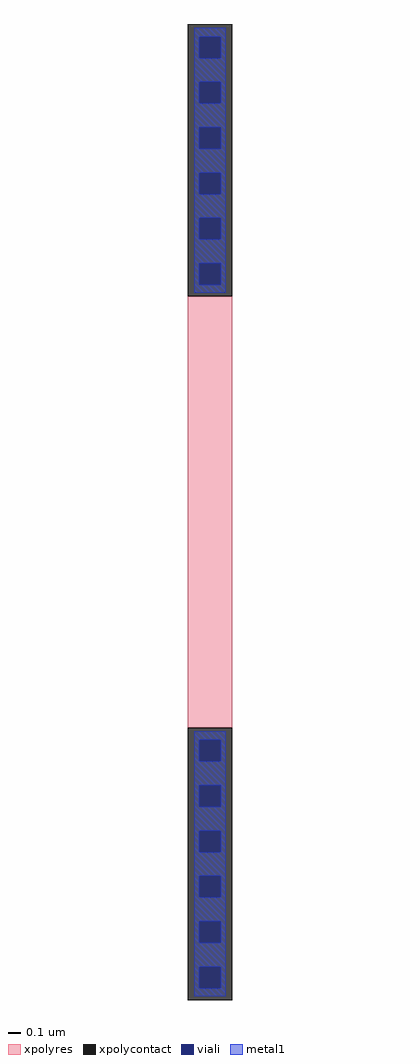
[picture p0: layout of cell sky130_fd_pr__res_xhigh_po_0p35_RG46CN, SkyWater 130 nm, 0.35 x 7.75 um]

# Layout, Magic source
magic
tech sky130A
magscale 1 2
<< xpolycontact >>
rect -35 343 35 775
rect -35 -775 35 -343
<< xpolyres >>
rect -35 -343 35 343
<< viali >>
rect -17 721 17 755
rect -17 649 17 683
rect -17 577 17 611
rect -17 505 17 539
rect -17 433 17 467
rect -17 361 17 395
rect -17 -396 17 -362
rect -17 -468 17 -434
rect -17 -540 17 -506
rect -17 -612 17 -578
rect -17 -684 17 -650
rect -17 -756 17 -722
<< metal1 >>
rect -25 755 25 769
rect -25 721 -17 755
rect 17 721 25 755
rect -25 683 25 721
rect -25 649 -17 683
rect 17 649 25 683
rect -25 611 25 649
rect -25 577 -17 611
rect 17 577 25 611
rect -25 539 25 577
rect -25 505 -17 539
rect 17 505 25 539
rect -25 467 25 505
rect -25 433 -17 467
rect 17 433 25 467
rect -25 395 25 433
rect -25 361 -17 395
rect 17 361 25 395
rect -25 348 25 361
rect -25 -362 25 -348
rect -25 -396 -17 -362
rect 17 -396 25 -362
rect -25 -434 25 -396
rect -25 -468 -17 -434
rect 17 -468 25 -434
rect -25 -506 25 -468
rect -25 -540 -17 -506
rect 17 -540 25 -506
rect -25 -578 25 -540
rect -25 -612 -17 -578
rect 17 -612 25 -578
rect -25 -650 25 -612
rect -25 -684 -17 -650
rect 17 -684 25 -650
rect -25 -722 25 -684
rect -25 -756 -17 -722
rect 17 -756 25 -722
rect -25 -769 25 -756
<< end >>
